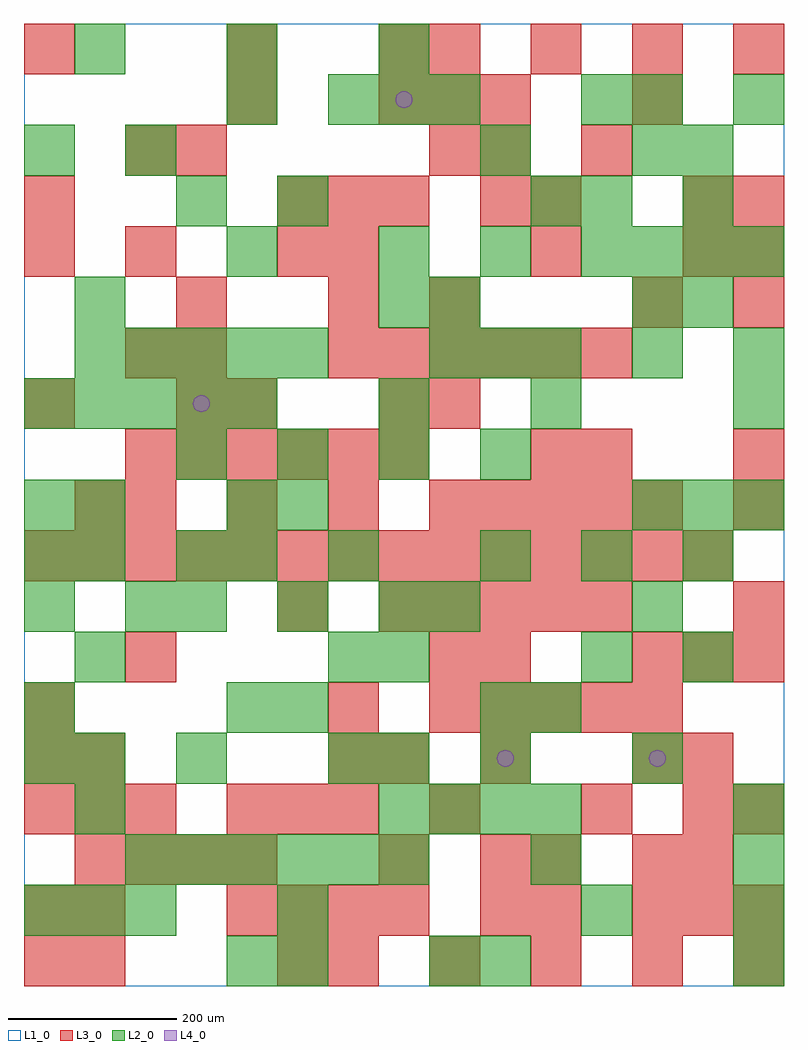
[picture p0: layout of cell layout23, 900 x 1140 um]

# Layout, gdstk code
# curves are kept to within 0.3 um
import gdstk
lib = gdstk.Library(unit=1e-6, precision=1e-09)
def R(c, l, rs):  # rectangles x0, y0, x1, y1
    for r in rs: c.add(gdstk.rectangle(r[:2], r[2:], *l))
def A(c, l, x, y, w, h, nx, ny, dx, dy):  # array of equal rectangles
    R(c, l, [(x+i*dx, y+j*dy, x+i*dx+w, y+j*dy+h) for i in range(nx) for j in range(ny)])
def P(c, l, *ps):  # polygons
    for p in ps: c.add(gdstk.Polygon(p, *l))
L1_0 = (1, 0)
L2_0 = (2, 0)
L3_0 = (3, 0)
L4_0 = (4, 0)

layout23 = lib.new_cell('layout23')
R(layout23, L1_0, [(0,0,900,1140)])
A(layout23, L2_0, 840, 0, 60, 60, 1, 4, 0, 60)
A(layout23, L2_0, 0, 60, 60, 60, 3, 1, 60, 0)
A(layout23, L2_0, 300, 60, 60, 60, 1, 3, 0, 240)
A(layout23, L2_0, 120, 120, 60, 60, 6, 1, 60, 0)
A(layout23, L2_0, 420, 180, 60, 60, 4, 1, 60, 0)
A(layout23, L2_0, 60, 240, 60, 60, 1, 3, 0, 120)
A(layout23, L2_0, 360, 240, 60, 60, 1, 3, 0, 120)
A(layout23, L2_0, 0, 420, 60, 60, 1, 3, 0, 60)
A(layout23, L2_0, 180, 420, 60, 60, 3, 1, 120, 0)
A(layout23, L2_0, 540, 480, 60, 60, 3, 1, 120, 0)
A(layout23, L2_0, 720, 540, 60, 60, 3, 2, 60, 300)
A(layout23, L2_0, 180, 600, 60, 60, 4, 1, 120, 0)
A(layout23, L2_0, 0, 660, 60, 60, 5, 1, 60, 0)
A(layout23, L2_0, 60, 720, 60, 60, 5, 1, 60, 0)
A(layout23, L2_0, 480, 720, 60, 60, 3, 1, 60, 0)
A(layout23, L2_0, 420, 840, 60, 60, 3, 1, 120, 0)
A(layout23, L2_0, 360, 1020, 60, 60, 3, 1, 60, 0)
A(layout23, L2_0, 60, 1080, 60, 60, 3, 1, 180, 0)
R(layout23, L2_0, [(240,0,300,60), (300,0,360,60), (480,0,540,60), (540,0,600,60), (660,60,720,120), (600,120,660,180), (60,180,120,240), (0,240,60,300), (180,240,240,300), (420,240,480,300), (540,240,600,300), (720,240,780,300), (0,300,60,360), (240,300,300,360), (540,300,600,360), (600,300,660,360), (420,360,480,420), (660,360,720,420), (780,360,840,420), (120,420,180,480), (480,420,540,480), (720,420,780,480), (180,480,240,540), (240,480,300,540), (60,540,120,600), (240,540,300,600), (420,660,480,720), (600,660,660,720), (840,660,900,720), (720,720,780,780), (840,720,900,780), (60,780,120,840), (420,780,480,840), (480,780,540,840), (720,780,780,840), (780,780,840,840), (240,840,300,900), (180,900,240,960), (300,900,360,960), (600,900,660,960), (660,900,720,960), (780,900,840,960), (0,960,60,1020), (120,960,180,1020), (540,960,600,1020), (720,960,780,1020), (780,960,840,1020), (240,1020,300,1080), (660,1020,720,1080), (720,1020,780,1080), (840,1020,900,1080)])
A(layout23, L3_0, 300, 0, 60, 60, 1, 3, 0, 420)
A(layout23, L3_0, 360, 0, 60, 60, 5, 1, 120, 0)
A(layout23, L3_0, 240, 60, 60, 60, 4, 1, 60, 0)
A(layout23, L3_0, 720, 60, 60, 60, 3, 2, 60, 300)
A(layout23, L3_0, 60, 120, 60, 60, 4, 1, 60, 0)
A(layout23, L3_0, 540, 120, 60, 60, 1, 3, 0, 120)
A(layout23, L3_0, 780, 120, 60, 60, 1, 3, 0, 60)
A(layout23, L3_0, 0, 180, 60, 60, 3, 1, 60, 0)
A(layout23, L3_0, 240, 180, 60, 60, 3, 1, 60, 0)
A(layout23, L3_0, 420, 240, 60, 60, 1, 3, 0, 420)
A(layout23, L3_0, 480, 300, 60, 60, 5, 1, 60, 0)
A(layout23, L3_0, 420, 420, 60, 60, 5, 1, 60, 0)
A(layout23, L3_0, 0, 480, 60, 60, 14, 1, 60, 0)
A(layout23, L3_0, 120, 540, 60, 60, 4, 1, 120, 0)
A(layout23, L3_0, 540, 540, 60, 60, 4, 1, 60, 0)
A(layout23, L3_0, 120, 600, 60, 60, 6, 1, 60, 0)
A(layout23, L3_0, 180, 660, 60, 60, 1, 3, 0, 60)
A(layout23, L3_0, 120, 720, 60, 60, 1, 3, 0, 120)
A(layout23, L3_0, 360, 720, 60, 60, 6, 1, 60, 0)
A(layout23, L3_0, 840, 780, 60, 60, 1, 3, 0, 60)
A(layout23, L3_0, 300, 900, 60, 60, 3, 1, 60, 0)
A(layout23, L3_0, 420, 1020, 60, 60, 3, 1, 60, 0)
A(layout23, L3_0, 480, 1080, 60, 60, 4, 1, 120, 0)
R(layout23, L3_0, [(0,0,60,60), (60,0,120,60), (0,60,60,120), (60,60,120,120), (540,60,600,120), (600,60,660,120), (420,120,480,180), (600,120,660,180), (720,120,780,180), (480,180,540,240), (660,180,720,240), (840,180,900,240), (0,240,60,300), (60,240,120,300), (360,240,420,300), (720,240,780,300), (0,300,60,360), (360,300,420,360), (120,360,180,420), (480,360,540,420), (840,420,900,480), (60,540,120,600), (840,540,900,600), (600,600,660,660), (660,600,720,660), (840,600,900,660), (0,660,60,720), (240,660,300,720), (480,660,540,720), (360,780,420,840), (480,780,540,840), (720,780,780,840), (0,840,60,900), (360,840,420,900), (600,840,660,900), (780,840,840,900), (0,900,60,960), (540,900,600,960), (600,900,660,960), (780,900,840,960), (180,960,240,1020), (480,960,540,1020), (540,960,600,1020), (660,960,720,1020), (240,1020,300,1080), (720,1020,780,1080), (0,1080,60,1140), (240,1080,300,1140)])
P(layout23, L4_0, [(220,690),(219.239,693.827),(217.071,697.071),(213.827,699.239),(210,700),(206.173,699.239),(202.929,697.071),(200.761,693.827),(200,690),(200.761,686.173),(202.929,682.929),(206.173,680.761),(210,680),(213.827,680.761),(217.071,682.929),(219.239,686.173)],
  [(460,1050),(459.239,1053.827),(457.071,1057.071),(453.827,1059.239),(450,1060),(446.173,1059.239),(442.929,1057.071),(440.761,1053.827),(440,1050),(440.761,1046.173),(442.929,1042.929),(446.173,1040.761),(450,1040),(453.827,1040.761),(457.071,1042.929),(459.239,1046.173)],
  [(580,270),(579.239,273.827),(577.071,277.071),(573.827,279.239),(570,280),(566.173,279.239),(562.929,277.071),(560.761,273.827),(560,270),(560.761,266.173),(562.929,262.929),(566.173,260.761),(570,260),(573.827,260.761),(577.071,262.929),(579.239,266.173)],
  [(760,270),(759.239,273.827),(757.071,277.071),(753.827,279.239),(750,280),(746.173,279.239),(742.929,277.071),(740.761,273.827),(740,270),(740.761,266.173),(742.929,262.929),(746.173,260.761),(750,260),(753.827,260.761),(757.071,262.929),(759.239,266.173)])

lib.write_gds('layout23.gds')
